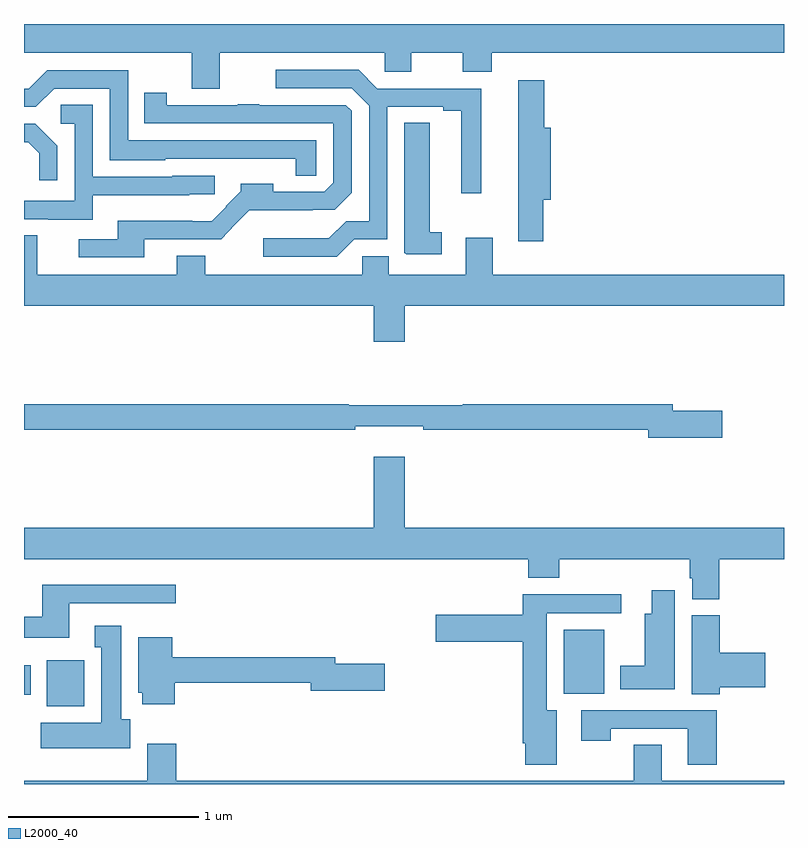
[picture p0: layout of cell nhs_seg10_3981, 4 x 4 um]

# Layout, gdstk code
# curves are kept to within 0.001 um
import gdstk
lib = gdstk.Library(unit=1e-6, precision=1e-09)
def R(c, l, rs):  # rectangles x0, y0, x1, y1
    for r in rs: c.add(gdstk.rectangle(r[:2], r[2:], *l))
def P(c, l, *ps):  # polygons
    for p in ps: c.add(gdstk.Polygon(p, *l))
L2000_40 = (2000, 40)

nhs_seg10_3981 = lib.new_cell('nhs_seg10_3981')
R(nhs_seg10_3981, L2000_40, [(331.121,1264.91,331.318,1265.152), (331,1264.969,331.036,1265.125), (333.842,1264.976,334.054,1265.311)])
P(nhs_seg10_3981, L2000_40, [(332.029,1268.348),(332.898,1268.348),(332.898,1268.25),(333.037,1268.25),(333.037,1268.348),(333.308,1268.348),(333.308,1268.249),(333.461,1268.249),(333.461,1268.348),(335,1268.348),(335,1268.5),(331,1268.5),(331,1268.348),(331.882,1268.348),(331.882,1268.158),(332.029,1268.158)],
  [(332.739,1267.368),(332.913,1267.368),(332.913,1268.064),(333.206,1268.064),(333.206,1268.044),(333.302,1268.044),(333.302,1267.608),(333.406,1267.608),(333.406,1268.16),(332.86,1268.16),(332.761,1268.259),(332.325,1268.259),(332.325,1268.163),(332.724,1268.163),(332.817,1268.07),(332.817,1267.463),(332.696,1267.463),(332.605,1267.372),(332.259,1267.372),(332.259,1267.275),(332.646,1267.275)],
  [(332.538,1267.887),(331.548,1267.887),(331.548,1268.256),(331.122,1268.256),(331.026,1268.16),(331,1268.16),(331,1268.064),(331.062,1268.064),(331.158,1268.16),(331.452,1268.16),(331.452,1267.784),(331.743,1267.784),(331.743,1267.791),(332.43,1267.79),(332.43,1267.702),(332.538,1267.702)],
  [(333.734,1267.574),(333.773,1267.574),(333.773,1267.954),(333.737,1267.954),(333.737,1268.203),(333.602,1268.203),(333.602,1267.356),(333.734,1267.356)],
  [(331.633,1267.368),(332.037,1267.368),(332.113,1267.445),(332.111,1267.447),(332.185,1267.521),(332.519,1267.52),(332.519,1267.522),(332.635,1267.522),(332.724,1267.611),(332.724,1268.043),(332.694,1268.073),(332.237,1268.073),(332.237,1268.078),(332.125,1268.078),(332.125,1268.073),(331.752,1268.073),(331.752,1268.137),(331.633,1268.137),(331.633,1267.977),(332.628,1267.977),(332.628,1267.665),(332.58,1267.617),(332.311,1267.617),(332.311,1267.66),(332.14,1267.66),(332.14,1267.621),(332.061,1267.542),(332.064,1267.539),(331.988,1267.463),(331.886,1267.463),(331.886,1267.465),(331.493,1267.465),(331.493,1267.368),(331.287,1267.368),(331.287,1267.272),(331.633,1267.272)],
  [(331.363,1267.598),(331.869,1267.598),(331.869,1267.605),(332.004,1267.605),(332.004,1267.701),(331.779,1267.701),(331.779,1267.695),(331.362,1267.695),(331.362,1268.075),(331.194,1268.075),(331.194,1267.974),(331.266,1267.974),(331.266,1267.569),(331,1267.569),(331,1267.473),(331.127,1267.473),(331.127,1267.469),(331.363,1267.469)],
  [(333.199,1267.403),(333.136,1267.403),(333.136,1267.979),(333.002,1267.979),(333.002,1267.297),(333.012,1267.287),(333.199,1267.287)],
  [(331.176,1267.858),(331.06,1267.974),(331,1267.974),(331,1267.878),(331.022,1267.878),(331.079,1267.821),(331.079,1267.677),(331.176,1267.677)],
  [(333.004,1267.016),(335,1267.016),(335,1267.18),(333.466,1267.18),(333.466,1267.375),(333.326,1267.375),(333.326,1267.18),(332.92,1267.18),(332.92,1267.278),(332.781,1267.278),(332.781,1267.18),(331.953,1267.18),(331.953,1267.279),(331.805,1267.279),(331.805,1267.18),(331.069,1267.18),(331.069,1267.388),(331,1267.388),(331,1267.016),(332.84,1267.016),(332.84,1266.828),(333.004,1266.828)],
  [(334.675,1266.464),(334.414,1266.464),(334.414,1266.5),(333.31,1266.5),(333.31,1266.493),(332.71,1266.493),(332.71,1266.5),(331,1266.5),(331,1266.364),(332.744,1266.364),(332.744,1266.383),(333.1,1266.383),(333.1,1266.364),(334.286,1266.364),(334.286,1266.322),(334.675,1266.322)],
  [(334.658,1265.684),(335,1265.684),(335,1265.848),(333.004,1265.848),(333.004,1266.223),(332.84,1266.223),(332.84,1265.848),(331,1265.848),(331,1265.684),(333.653,1265.684),(333.653,1265.585),(333.818,1265.585),(333.818,1265.684),(334.505,1265.684),(334.505,1265.583),(334.517,1265.583),(334.517,1265.473),(334.658,1265.473)],
  [(331.237,1265.451),(331.798,1265.451),(331.798,1265.548),(331.097,1265.548),(331.097,1265.38),(331.001,1265.38),(331.001,1265.367),(331,1265.367),(331,1265.27),(331.237,1265.27)],
  [(334.426,1265.521),(334.304,1265.521),(334.304,1265.395),(334.268,1265.395),(334.268,1265.122),(334.139,1265.122),(334.139,1265),(334.426,1265)],
  [(333.805,1264.888),(333.751,1264.888),(333.751,1265.4),(334.144,1265.4),(334.144,1265.498),(333.626,1265.498),(333.626,1265.391),(333.168,1265.391),(333.168,1265.249),(333.626,1265.249),(333.626,1264.714),(333.638,1264.714),(333.638,1264.602),(333.805,1264.602)],
  [(334.661,1265.009),(334.9,1265.009),(334.9,1265.192),(334.661,1265.192),(334.661,1265.388),(334.514,1265.388),(334.514,1264.972),(334.661,1264.972)],
  [(331.558,1264.842),(331.513,1264.842),(331.513,1265.332),(331.373,1265.332),(331.373,1265.219),(331.406,1265.219),(331.406,1264.822),(331.089,1264.822),(331.089,1264.688),(331.558,1264.688)],
  [(331.793,1265.032),(332.51,1265.032),(332.51,1264.99),(332.899,1264.99),(332.899,1265.132),(332.638,1265.132),(332.638,1265.168),(331.78,1265.168),(331.78,1265.272),(331.601,1265.272),(331.601,1264.98),(331.622,1264.98),(331.622,1264.92),(331.793,1264.92)],
  [(334.646,1264.887),(333.933,1264.887),(333.933,1264.728),(334.089,1264.728),(334.089,1264.791),(334.493,1264.791),(334.493,1264.602),(334.646,1264.602)],
  [(335,1264.516),(334.357,1264.516),(334.357,1264.706),(334.21,1264.706),(334.21,1264.516),(331.802,1264.516),(331.802,1264.711),(331.649,1264.711),(331.649,1264.516),(331,1264.516),(331,1264.5),(335,1264.5)])

lib.write_gds('nhs_seg10_3981.gds')
